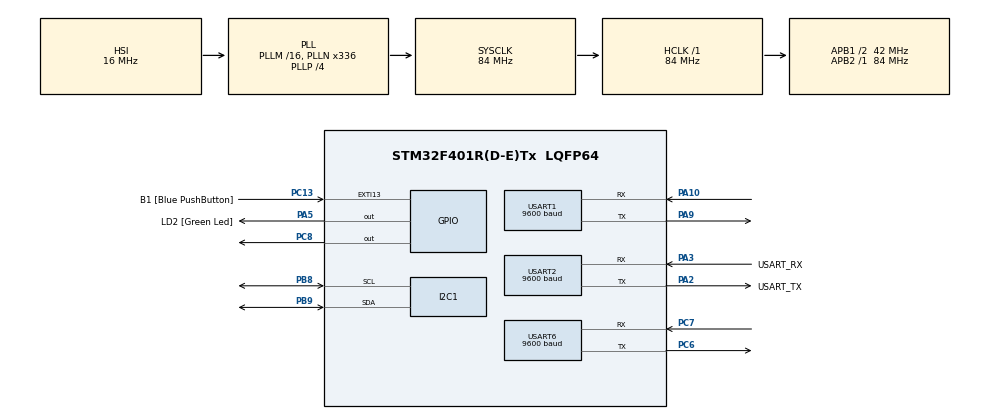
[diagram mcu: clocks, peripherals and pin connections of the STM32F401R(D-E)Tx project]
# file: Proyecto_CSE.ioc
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Dma.Request0=USART2_RX
Dma.Request1=USART2_TX
Dma.Request2=USART6_RX
Dma.Request3=USART6_TX
Dma.Request4=USART1_TX
Dma.USART1_TX.4.Direction=DMA_MEMORY_TO_PERIPH
Dma.USART1_TX.4.FIFOMode=DMA_FIFOMODE_DISABLE
Dma.USART1_TX.4.Instance=DMA2_Stream7
Dma.USART1_TX.4.MemDataAlignment=DMA_MDATAALIGN_BYTE
Dma.USART1_TX.4.MemInc=DMA_MINC_ENABLE
Dma.USART1_TX.4.Mode=DMA_CIRCULAR
Dma.USART1_TX.4.PeriphDataAlignment=DMA_PDATAALIGN_BYTE
Dma.USART1_TX.4.PeriphInc=DMA_PINC_DISABLE
Dma.USART1_TX.4.Priority=DMA_PRIORITY_LOW
Dma.USART2_RX.0.Direction=DMA_PERIPH_TO_MEMORY
Dma.USART2_RX.0.FIFOMode=DMA_FIFOMODE_DISABLE
Dma.USART2_RX.0.Instance=DMA1_Stream5
Dma.USART2_RX.0.MemDataAlignment=DMA_MDATAALIGN_BYTE
Dma.USART2_RX.0.MemInc=DMA_MINC_ENABLE
Dma.USART2_RX.0.Mode=DMA_CIRCULAR
Dma.USART2_RX.0.PeriphDataAlignment=DMA_PDATAALIGN_BYTE
Dma.USART2_RX.0.PeriphInc=DMA_PINC_DISABLE
Dma.USART2_RX.0.Priority=DMA_PRIORITY_LOW
Dma.USART2_TX.1.Direction=DMA_MEMORY_TO_PERIPH
Dma.USART2_TX.1.FIFOMode=DMA_FIFOMODE_DISABLE
Dma.USART2_TX.1.Instance=DMA1_Stream6
Dma.USART2_TX.1.MemDataAlignment=DMA_MDATAALIGN_BYTE
Dma.USART2_TX.1.MemInc=DMA_MINC_ENABLE
Dma.USART2_TX.1.Mode=DMA_NORMAL
Dma.USART2_TX.1.PeriphDataAlignment=DMA_PDATAALIGN_BYTE
Dma.USART2_TX.1.PeriphInc=DMA_PINC_DISABLE
Dma.USART2_TX.1.Priority=DMA_PRIORITY_LOW
Dma.USART6_RX.2.Direction=DMA_PERIPH_TO_MEMORY
Dma.USART6_RX.2.FIFOMode=DMA_FIFOMODE_DISABLE
Dma.USART6_RX.2.Instance=DMA2_Stream1
Dma.USART6_RX.2.MemDataAlignment=DMA_MDATAALIGN_BYTE
Dma.USART6_RX.2.MemInc=DMA_MINC_ENABLE
Dma.USART6_RX.2.Mode=DMA_CIRCULAR
Dma.USART6_RX.2.PeriphDataAlignment=DMA_PDATAALIGN_BYTE
Dma.USART6_RX.2.PeriphInc=DMA_PINC_DISABLE
Dma.USART6_RX.2.Priority=DMA_PRIORITY_LOW
Dma.USART6_TX.3.Direction=DMA_MEMORY_TO_PERIPH
Dma.USART6_TX.3.FIFOMode=DMA_FIFOMODE_DISABLE
Dma.USART6_TX.3.Instance=DMA2_Stream6
Dma.USART6_TX.3.MemDataAlignment=DMA_MDATAALIGN_BYTE
Dma.USART6_TX.3.MemInc=DMA_MINC_ENABLE
Dma.USART6_TX.3.Mode=DMA_CIRCULAR
Dma.USART6_TX.3.PeriphDataAlignment=DMA_PDATAALIGN_BYTE
Dma.USART6_TX.3.PeriphInc=DMA_PINC_DISABLE
Dma.USART6_TX.3.Priority=DMA_PRIORITY_LOW
Mcu.Family=STM32F4
Mcu.Name=STM32F401R(D-E)Tx
Mcu.Package=LQFP64
NVIC.DMA1_Stream5_IRQn=true\:0\:0\:false\:false\:true\:false\:true\:true
NVIC.DMA1_Stream6_IRQn=true\:0\:0\:false\:false\:true\:false\:true\:true
NVIC.DMA2_Stream1_IRQn=true\:0\:0\:false\:false\:true\:false\:true\:true
NVIC.DMA2_Stream6_IRQn=true\:0\:0\:false\:false\:true\:false\:true\:true
NVIC.DMA2_Stream7_IRQn=true\:0\:0\:false\:false\:true\:false\:true\:true
NVIC.PriorityGroup=NVIC_PRIORITYGROUP_0
NVIC.USART1_IRQn=true\:0\:0\:false\:false\:true\:true\:true\:true
NVIC.USART2_IRQn=true\:0\:0\:false\:false\:true\:true\:true\:true
NVIC.USART6_IRQn=true\:0\:0\:false\:false\:true\:true\:true\:true
PA10.Mode=Asynchronous
PA10.Signal=USART1_RX
PA13.GPIO_Label=TMS
PA13.Mode=Serial_Wire
PA13.Signal=SYS_JTMS-SWDIO
PA14.GPIO_Label=TCK
PA14.Mode=Serial_Wire
PA14.Signal=SYS_JTCK-SWCLK
PA2.GPIO_Label=USART_TX
PA2.GPIO_Mode=GPIO_MODE_AF_PP
PA2.GPIO_PuPd=GPIO_NOPULL
PA2.GPIO_Speed=GPIO_SPEED_FREQ_LOW
PA2.Mode=Asynchronous
PA2.Signal=USART2_TX
PA3.GPIO_Label=USART_RX
PA3.GPIO_Mode=GPIO_MODE_AF_PP
PA3.GPIO_PuPd=GPIO_NOPULL
PA3.GPIO_Speed=GPIO_SPEED_FREQ_LOW
PA3.Mode=Asynchronous
PA3.Signal=USART2_RX
PA5.GPIO_Label=LD2 [Green Led]
PA5.GPIO_Mode=GPIO_MODE_OUTPUT_PP
PA5.GPIO_PuPd=GPIO_NOPULL
PA5.GPIO_Speed=GPIO_SPEED_FREQ_LOW
PA5.Signal=GPIO_Output
PA9.Mode=Asynchronous
PA9.Signal=USART1_TX
PB3.GPIO_Label=SWO
PB3.Signal=SYS_JTDO-SWO
PB8.GPIO_Pu=GPIO_PULLUP
PB8.Mode=I2C
PB8.Signal=I2C1_SCL
PB9.GPIO_Pu=GPIO_PULLUP
PB9.Mode=I2C
PB9.Signal=I2C1_SDA
PC13-ANTI_TAMP.GPIO_Label=B1 [Blue PushButton]
PC13-ANTI_TAMP.GPIO_ModeDefaultEXTI=GPIO_MODE_IT_FALLING
PC13-ANTI_TAMP.GPIO_PuPd=GPIO_NOPULL
PC13-ANTI_TAMP.Signal=GPXTI13
PC14-OSC32_IN.Mode=LSE-External-Oscillator
PC14-OSC32_IN.Signal=RCC_OSC32_IN
PC15-OSC32_OUT.Mode=LSE-External-Oscillator
PC15-OSC32_OUT.Signal=RCC_OSC32_OUT
PC6.Mode=Asynchronous
PC6.Signal=USART6_TX
PC7.Mode=Asynchronous
PC7.Signal=USART6_RX
PC8.GPIO_ModeDefaultOutputPP=GPIO_MODE_OUTPUT_OD
PC8.GPIO_PuPd=GPIO_NOPULL
PC8.Signal=GPIO_Output
PH0\ -\ OSC_IN.Mode=HSE-External-Clock-Source
PH0\ -\ OSC_IN.Signal=RCC_OSC_IN
PH1\ -\ OSC_OUT.Mode=HSE-External-Clock-Source
PH1\ -\ OSC_OUT.Signal=RCC_OSC_OUT
ProjectManager.HeapSize=0x200
ProjectManager.StackSize=0x400
ProjectManager.TargetToolchain=STM32CubeIDE
RCC.48MHZClocksFreq_Value=48000000
RCC.AHBFreq_Value=84000000
RCC.APB1CLKDivider=RCC_HCLK_DIV2
RCC.APB1Freq_Value=42000000
RCC.APB1TimFreq_Value=84000000
RCC.APB2Freq_Value=84000000
RCC.APB2TimFreq_Value=84000000
RCC.CortexFreq_Value=84000000
RCC.HCLKFreq_Value=84000000
RCC.HSE_VALUE=8000000
RCC.HSI_VALUE=16000000
RCC.PLLN=336
RCC.PLLP=RCC_PLLP_DIV4
RCC.PLLQ=7
RCC.SYSCLKFreq_VALUE=84000000
RCC.SYSCLKSource=RCC_SYSCLKSOURCE_PLLCLK
RCC.VCOOutputFreq_Value=336000000
USART1.BaudRate=9600
USART1.VirtualMode=VM_ASYNC
USART2.BaudRate=9600
USART2.VirtualMode=VM_ASYNC
USART6.BaudRate=9600
USART6.VirtualMode=VM_ASYNC
VP_CRC_VS_CRC.Mode=CRC_Activate
board=NUCLEO-F401RE

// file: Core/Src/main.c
/* USER CODE BEGIN Header */
/**
  ******************************************************************************
  * @file           : main.c
  * @brief          : Programa principal de Proyecto Final de Cursada de CSE
  ******************************************************************************
  * @attention
  * DESCRIPCION: Se lee por UART una palabra de 16 hasta 256 bytes que debe comenzar con 'AA55' y finalizar con '55AA' para ser
  *              reconocida. Luego se guarda en memoria a través de comunicación I2C y se envía por UART.
  * UART no tiene incremento en memoria DMA Settings
  *
  * #### PROCEDIMIENTO ####
  * 1) Recibimos datos del sensor. Debe estar compuesta por: AA55 <Mensaje> 55AA
  * 2) Sensor tiene direccion 0x05
  * 3) Lora Side tiene direccion 0x06
  * 4) Protocolo de mensaje: 0xAA 0x55 DIR_ORIG(1 byte) DIR_DEST(1 byte) SIZE(1 byte) PAYLOAD(16 a 256 bytes) CRC(1 byte) 0x55 0xAA
  *
  * ####
  * HAL_GPIO_WritePin(GPIOC, GPIO_PIN_7, 0); // Equivale a poner en GND.
  * ####
  * UART 6 para TX y RX de trama.
  * UART 1 comando AT
  * UART 2 para DEBUG
  * PINTOUT RS485
  * PC6 = DI (TX)
  * PC7 = RO (RX)
  * PC8 = Salida colector abierto digital para configurar Rx/Tx
  *
  * #### Pinout I2C: ####
  * Pin1: A0  Pin8: VCC
  * Pin2: A1  Pin7: WP
  * Pin3: A2  Pin6: SCL (PB8)
  * Pin4: GND Pin5: SDA (PB9)
  *
  * ### Troubleshooting ###
  *  Si se queda esperando el debugger, compilá y depurá otro programa antes que este
  *
  ******************************************************************************
  */
/* USER CODE END Header */
#include "main.h"

/* USER CODE BEGIN PD */

# define MAX_MSG_LENGTH 256

// ############## Defines I2C ##############
#define CONTROL_CODE 0x0A
#define BLOCK1 0x00
HAL_StatusTypeDef Return_I2C; // Variable de estado de protocolo I2C.

#define ESTADO0 0
#define ESTADO1 1
#define ESTADO2 2
#define ESTADO3 3
#define ESTADO4 4
#define ESTADO5 5
#define ESTADO6 6
#define ESTADO7 7
#define ESTADO8 8
#define ESTADO9 9

/* USER CODE END PD */

CRC_HandleTypeDef hcrc;

I2C_HandleTypeDef hi2c1;

UART_HandleTypeDef huart1;
UART_HandleTypeDef huart2;
UART_HandleTypeDef huart6;
DMA_HandleTypeDef hdma_usart1_tx;
DMA_HandleTypeDef hdma_usart2_rx;
DMA_HandleTypeDef hdma_usart2_tx;
DMA_HandleTypeDef hdma_usart6_rx;
DMA_HandleTypeDef hdma_usart6_tx;

/* USER CODE BEGIN PV */

//############## Variables para transmitir mensaje.##############

uint8_t msg_length;         // Contador de letras de mi mensaje
uint8_t input_data[] = "pepepepeepAAHOLA Conectividad de sistemas Embebidos55";

uint8_t dir_origen = 0x5;
uint8_t dir_dest = 0x6;

uint8_t payloadprueba[8]={0x58,0x57,0x56,0x55,0x54,0x53,0x52,0x51};

// Variables para I2C
uint16_t Control_Byte;
uint8_t Data_I2C_Rx[6] ={0}; // size(Data_Tx)-2 porque no quiero leer la posicion de memoria, sino los datos
uint8_t Data_I2C_Tx[8] = {0,4,'A','B','C','D','E','F'}; // primeros bytes corresponden a la cantidad de word address, 24c32 tiene 2 word address.
uint8_t cnt = 0;
uint8_t Direccion[2]= {0,4};
HAL_StatusTypeDef Return;

uint8_t data_rx;
uint8_t info[267];			// 256 de payload + 11 de la trama.
uint8_t RX_PENDING = 1;     // Inicializo en 1

/* USER CODE END PV */

void SystemClock_Config(void);
static void MX_GPIO_Init(void);
static void MX_USART2_UART_Init(void);
static void MX_DMA_Init(void);
static void MX_I2C1_Init(void);
static void MX_USART6_UART_Init(void);
static void MX_USART1_UART_Init(void);
static void MX_CRC_Init(void);
/* USER CODE BEGIN PFP */

uint8_t contar_bytes_ciclicos(const uint8_t *arr,uint8_t pos);
uint8_t CSE_send_data(uint8_t* vec, uint8_t origen, uint8_t destino ,uint8_t size);
void Escritura_I2C(uint8_t *vec,uint8_t msg_length);
uint32_t Escritura_CRC(uint8_t origen, uint8_t destino, uint8_t size, uint8_t* payload_rx);
uint8_t Run_Program();
uint8_t CSE_receive_data();

/* USER CODE END PFP */

/* USER CODE BEGIN 0 */

//### Funcion que cuenta los bytes de payload ###
//uint8_t contar_bytes_ciclicos(const uint8_t *arr , uint8_t pos){
//	uint8_t cant_bytes = 0;
//	int j = 0;
//   	for( j = pos+2; j < MAX_MSG_LENGTH ; j++){
//            if ((arr[j] == '5') && (arr[(j+1)] == '5')){
//            	return cant_bytes;
//           	break;
//            }
//			cant_bytes = cant_bytes + 1;
//		}
//	return cant_bytes;
//}

//### Funcion para encontrar inicio de trama. Parámetros: vector donde buscar y tamaño ###
uint8_t Encontrar_START(uint8_t *vec,uint8_t len){
    int it = 0;
    uint8_t pos = 0;
	for(it = 0; it < len; it++ ){
		if( vec[it]== 'A' && vec[it+1]== 'A'){
			return pos;
		}
		pos = it + 1;
	}
	return pos;
}

//### Funcion que arma el protocolo de transmisión ###
uint8_t CSE_send_data(uint8_t* vec, uint8_t origen , uint8_t destino , uint8_t size){
	uint8_t PACKAGE_BYTES = 11; // Cantidad de bytes adicionales al payload a transmitir.
	uint8_t i=0;
	uint8_t crc [4]= {0x00,0x00,0x00,0x00};
	uint8_t data[size + 11];
	uint32_t CRC_AUX=0;
	for(i=0; i < size + PACKAGE_BYTES; i++)
	{
	  if(i==0)
		  data[i] = 0xAA;
	  if(i==1)
		  data[i] = 0x55;
	  if(i==2)
		  data[i] = origen;
	  if(i==3)
		  data[i] = destino;
	  if(i==4)
		  data[i] = size; // 16
	  if(i==(size+5))
		  data[i] = crc[3];
	  if(i==(size+6))
  		  data[i] = crc[2];
	  if(i==(size+7))
  		  data[i] = crc[1];
	  if(i==(size+8))
  		  data[i] = crc[0];
	  if(i ==(size+9))
		  data[i] = 0x55;
	  if(i == (size+10)){
		  data[i] = 0xAA;
	  }
	  if( (i>=5) && (i<=(5+size)))
		  data[i] = vec[i-5];
	}

	 CRC_AUX=Escritura_CRC(data[2], data[3], data[4], vec);
	 data[size+5]=(CRC_AUX&0xFF000000)>>24;
	 data[size+6]=(CRC_AUX&0x00FF0000)>>16;
	 data[size+7]=(CRC_AUX&0x0000FF00)>>8;
	 data[size+8]=CRC_AUX&0x000000FF;

	HAL_UART_Transmit_DMA(&huart2, data, sizeof(data));
	HAL_UART_Transmit_DMA(&huart6, data, sizeof(data));

	return 0;
}

uint32_t Escritura_CRC(uint8_t origen, uint8_t destino, uint8_t size, uint8_t* payload_rx){

	uint8_t i=0;
	uint32_t CRC_;
    uint8_t relleno=0;
	uint8_t RESTOS=(11+size)%4;

	switch (RESTOS)
		{
			case 0:
				relleno=0;
			  break;
			case 1:
				relleno=3;
			  break;
			case 2:
				relleno=2;
			  break;
			case 3:
				relleno=1;
			  break;
		}

	uint8_t Data_Input [11+size+relleno];
	Data_Input[0] = 0xAA;
	Data_Input[1] = 0x55;
	Data_Input[2] = origen;
	Data_Input[3] = destino;
	Data_Input[4] = size;

	for (i=0 ; i<size ; i++)
	{
		Data_Input[5+i] = payload_rx[i];
	}

	Data_Input[5+size] = 0x00;
	Data_Input[6+size] = 0x00;
	Data_Input[7+size] = 0x00;
	Data_Input[8+size] = 0x00;
	Data_Input[9+size] = 0x55;
	Data_Input[10+size] = 0xAA;

	for (i=11+size ; i<=11+size+relleno ; i++)
		{
			Data_Input[i] = 0x00;
		}

	CRC_ = HAL_CRC_Calculate(&hcrc, (uint32_t*)Data_Input, sizeof(Data_Input) / sizeof(uint32_t));

	return(CRC_);
}

void Escritura_I2C(uint8_t *vec,uint8_t msg_length){

    uint8_t Transmision_I2C[2 + msg_length];
    uint8_t Recepcion_I2C[msg_length];
    uint8_t item= 0;

    for(item=0; item < (msg_length + 2);item++){
    	if(item == 0)
    		Transmision_I2C[item] = Direccion[0];
    	if(item == 1)
    		Transmision_I2C[item] = Direccion[1];
    	else Transmision_I2C[item] = vec[item-2];
    }
    Control_Byte = ( (CONTROL_CODE<<3)+BLOCK1 ) << 1;
	//Return = HAL_I2C_Master_Transmit(&hi2c1, Control_Byte,Data_I2C_Tx,8,HAL_MAX_DELAY);
	Return = HAL_I2C_Master_Transmit(&hi2c1, Control_Byte,Transmision_I2C,sizeof(Transmision_I2C),HAL_MAX_DELAY);
	HAL_Delay(10);
	Return = HAL_I2C_Master_Transmit(&hi2c1, Control_Byte,Direccion,2,HAL_MAX_DELAY);
	//HAL_I2C_Master_Receive(&hi2c1, Control_Byte,Data_I2C_Rx, sizeof(Transmision_I2C), HAL_MAX_DELAY);
	HAL_I2C_Master_Receive(&hi2c1, Control_Byte,Recepcion_I2C, sizeof(Recepcion_I2C), HAL_MAX_DELAY);
}
//### Funcion que recibe por UART ###
uint8_t CSE_receive_data(){

	HAL_UART_Receive_IT(&huart6, &data_rx, sizeof(data_rx));
//HAL_UART_Receive_IT(huart, pData, Size)

	while(RX_PENDING);

	RX_PENDING = 1;

	return data_rx;
}
//### Completar esta función ###
void Enviar_Comando_AT(uint8_t* payload, uint8_t size_rx){

	uint8_t k=0;
	  uint8_t comando_AT[9] =  "AT+SEND+";
	  uint8_t size_AT = sizeof(comando_AT);
	  uint8_t mensaje_AT[size_AT+size_rx-1]; // el -1 es por el caracter nulo del vector char comando at
	for(k=0; k < size_AT-1; k++){
		mensaje_AT[k] =  comando_AT[k];
	}

	for(k=0; k < size_rx ;k++){
		mensaje_AT[k+size_AT-1] =  payload[k];
	}
	HAL_UART_Transmit_DMA(&huart2, mensaje_AT, sizeof(mensaje_AT));
	HAL_UART_Transmit_DMA(&huart1, mensaje_AT, sizeof(mensaje_AT));
}

uint8_t Run_Program(){

	int i;

		  uint8_t pos_START = 0; // Reseteo indice de posicion AA.

		  //HAL_UART_Receive_DMA(&huart2, Buffer_UART_Rx, sizeof(Buffer_UART_Rx)); // Recibo datos
		  //while(RX_PENDING);

	      pos_START = Encontrar_START(input_data,sizeof(input_data));

		  msg_length = 0;
		//  msg_length = contar_bytes_ciclicos(input_data, pos_START);

		  uint8_t payload[msg_length]; //inicializa

		  for(i=0; i < msg_length; i++){

			  *(payload + i) = *(input_data + pos_START + i + 2);

		  }//for

		  CSE_send_data(payload, dir_origen, dir_dest,msg_length);

		  //CSE_receive_data();
	return 0;
}

void HAL_UART_RxCpltCallback(UART_HandleTypeDef *huart6)
{
	// Drivers > STM32F..HAL_Driver > Src > stm32f4xx_hal_uart.c

    RX_PENDING = 0;
}

/* USER CODE END 0 */

int main(void)
{

  /* MCU Configuration--------------------------------------------------------*/

  /* Reset of all peripherals, Initializes the Flash interface and the Systick. */
  HAL_Init();

  /* USER CODE BEGIN Init */
  // HAL_GPIO_WritePin(GPIOC, GPIO_PIN_7, 0); // RX =0
  HAL_GPIO_WritePin(GPIOC, GPIO_PIN_8, 0); // Esta configurado en modo recepcion
  /* USER CODE END Init */

  /* Configure the system clock */
  SystemClock_Config();

  /* Initialize all configured peripherals */
  MX_GPIO_Init();
  MX_USART2_UART_Init();
  MX_DMA_Init();
  MX_I2C1_Init();
  MX_USART6_UART_Init();
  MX_USART1_UART_Init();
  MX_CRC_Init();
  /* USER CODE BEGIN 2 */

  HAL_UART_MspInit(&huart2);
  HAL_UART_MspInit(&huart6);
  //Run_Program(); 				// Ejecución de programa.

  static uint8_t ESTADO = 0;
  //uint8_t size_rx = 0;

  uint8_t size_rx ;
  uint8_t payload_rx[256] = {0};

  uint8_t i , j , k;
  uint8_t CRC_rx[4];

  uint32_t crc_obt =0 ;
  uint32_t crc_aux =0 ;
  /* USER CODE END 2 */

  /* Infinite loop */
  /* USER CODE BEGIN WHILE */
  HAL_GPIO_WritePin(GPIOC, GPIO_PIN_8, 0); // configuro el max en modo recepcion
 HAL_Delay(1); // delay de 10ms para que tenga tiempo para poder recibir paquetes

 while (1)
  {
//	     Enviar_Comando_AT(payloadprueba,sizeof(payloadprueba)); // Para probar el envio de datos a la LORA
//		 CSE_send_data("OK", 0x06 , 0x05 , sizeof("OK")); // Para probar el envio de datos de OK
//		 CSE_send_data("ER", 0x06 , 0x05 , sizeof("ER")); // Para probar el envio de datos de ERROR
	  //CSE_send_data("OK", 0x06 , 0x05 , sizeof("OK"));
	 				 //Enviar_Comando_AT(payload_rx,size_rx);
	switch (ESTADO)
	{
		case ESTADO0:
			info[0] = CSE_receive_data();
		  if(info[0] == 0xAA)
			  ESTADO = ESTADO2;
		  else
			  ESTADO = ESTADO0;
		  break;

		case ESTADO2:
			info[1] = CSE_receive_data();
		  if(info[1] == 0x55)
			  ESTADO = ESTADO3;
		  else
			  ESTADO = ESTADO0;
		  break;

		case ESTADO3:
			info[2] = CSE_receive_data();
		  if(info[2] == 0x05)
			 ESTADO = ESTADO4;
		  else
			  ESTADO = ESTADO0;
		 break;

		case ESTADO4:
			info[3] = CSE_receive_data();
		  if(info[3] == 0x06)
			 ESTADO = ESTADO5;
		  else
			  ESTADO = ESTADO0;
		  break;

		case ESTADO5:
			info[4] = CSE_receive_data();
			 size_rx = info[4];

			 for(i=0; i < size_rx; i++ ){
				 info[5+i] = CSE_receive_data();
				 payload_rx[i] = info[5+i];
			 }
			 ESTADO = ESTADO6;
		 break;

		case ESTADO6:
		  //uint8_t CRC_rx[4];
		  for(j=0;j < 4; j++){
			  info[5 + size_rx + j] = CSE_receive_data();
			  CRC_rx[j] = info[5 + size_rx + j];
		  }
			 ESTADO = ESTADO7;
		 break;

		case ESTADO7:
		  info[5 + size_rx + 4] = CSE_receive_data();
		  if(info[5 + size_rx + 4] == 0x55)
			 ESTADO = ESTADO8;
		  else
			  ESTADO = ESTADO0;
		  break;

		case ESTADO8:
		  info[5 + size_rx + 4 + 1] = CSE_receive_data();
		  if(info[5 + size_rx + 4 + 1] == 0xAA)
			 ESTADO = ESTADO9;
		  else
			  ESTADO = ESTADO0;
		  break;

		case ESTADO9: // Calculo de CRC
			 crc_obt = Escritura_CRC(0x05, 0x06, size_rx, payload_rx);
			 crc_aux=0;
			 for (i=0 ; i<3 ; i++){
			 		  crc_aux = CRC_rx[i] | crc_aux;
			 		  crc_aux =  crc_aux << 8 ;
			 	  }
			 	  crc_aux = CRC_rx[3] | crc_aux;
			 HAL_GPIO_WritePin(GPIOC, GPIO_PIN_8, 1); // configuro el max en modo transmision
			 HAL_Delay(1); // delay de 10ms para que tenga tiempo para poder transmitir paquetes

			 if(crc_obt == crc_aux)
			 {
				 CSE_send_data("OK", 0x06 , 0x05 , sizeof("OK"));
				 HAL_Delay(10); // delay de 50ms para que tenga tiempo para poder recibir paquetes
				 Enviar_Comando_AT(payload_rx,size_rx);
				 ESTADO=ESTADO0;
			 }
			 else
			 {
				 CSE_send_data("ER", 0x06 , 0x05 , sizeof("ER"));
				 HAL_Delay(1); // delay de 50ms para que tenga tiempo para poder recibir paquetes
				 ESTADO=ESTADO0;
			 }
			 HAL_GPIO_WritePin(GPIOC, GPIO_PIN_8, 0); // configuro el max en modo recepcion
			 HAL_Delay(1); // delay de 50ms para que tenga tiempo para poder recibir paquetes
		break;
	}
    /* USER CODE END WHILE */

  }
}

void SystemClock_Config(void)
{
  RCC_OscInitTypeDef RCC_OscInitStruct = {0};
  RCC_ClkInitTypeDef RCC_ClkInitStruct = {0};

  /** Configure the main internal regulator output voltage
  */
  __HAL_RCC_PWR_CLK_ENABLE();
  __HAL_PWR_VOLTAGESCALING_CONFIG(PWR_REGULATOR_VOLTAGE_SCALE2);
  /** Initializes the RCC Oscillators according to the specified parameters
  * in the RCC_OscInitTypeDef structure.
  */
  RCC_OscInitStruct.OscillatorType = RCC_OSCILLATORTYPE_HSI;
  RCC_OscInitStruct.HSIState = RCC_HSI_ON;
  RCC_OscInitStruct.HSICalibrationValue = RCC_HSICALIBRATION_DEFAULT;
  RCC_OscInitStruct.PLL.PLLState = RCC_PLL_ON;
  RCC_OscInitStruct.PLL.PLLSource = RCC_PLLSOURCE_HSI;
  RCC_OscInitStruct.PLL.PLLM = 16;
  RCC_OscInitStruct.PLL.PLLN = 336;
  RCC_OscInitStruct.PLL.PLLP = RCC_PLLP_DIV4;
  RCC_OscInitStruct.PLL.PLLQ = 7;
  if (HAL_RCC_OscConfig(&RCC_OscInitStruct) != HAL_OK)
  {
    Error_Handler();
  }
  /** Initializes the CPU, AHB and APB buses clocks
  */
  RCC_ClkInitStruct.ClockType = RCC_CLOCKTYPE_HCLK|RCC_CLOCKTYPE_SYSCLK
                              |RCC_CLOCKTYPE_PCLK1|RCC_CLOCKTYPE_PCLK2;
  RCC_ClkInitStruct.SYSCLKSource = RCC_SYSCLKSOURCE_PLLCLK;
  RCC_ClkInitStruct.AHBCLKDivider = RCC_SYSCLK_DIV1;
  RCC_ClkInitStruct.APB1CLKDivider = RCC_HCLK_DIV2;
  RCC_ClkInitStruct.APB2CLKDivider = RCC_HCLK_DIV1;

  if (HAL_RCC_ClockConfig(&RCC_ClkInitStruct, FLASH_LATENCY_2) != HAL_OK)
  {
    Error_Handler();
  }
}

static void MX_CRC_Init(void)
{

  hcrc.Instance = CRC;
  if (HAL_CRC_Init(&hcrc) != HAL_OK)
  {
    Error_Handler();
  }

}

static void MX_I2C1_Init(void)
{

  hi2c1.Instance = I2C1;
  hi2c1.Init.ClockSpeed = 100000;
  hi2c1.Init.DutyCycle = I2C_DUTYCYCLE_2;
  hi2c1.Init.OwnAddress1 = 0;
  hi2c1.Init.AddressingMode = I2C_ADDRESSINGMODE_7BIT;
  hi2c1.Init.DualAddressMode = I2C_DUALADDRESS_DISABLE;
  hi2c1.Init.OwnAddress2 = 0;
  hi2c1.Init.GeneralCallMode = I2C_GENERALCALL_DISABLE;
  hi2c1.Init.NoStretchMode = I2C_NOSTRETCH_DISABLE;
  if (HAL_I2C_Init(&hi2c1) != HAL_OK)
  {
    Error_Handler();
  }

}

static void MX_USART1_UART_Init(void)
{

  huart1.Instance = USART1;
  huart1.Init.BaudRate = 9600;
  huart1.Init.WordLength = UART_WORDLENGTH_8B;
  huart1.Init.StopBits = UART_STOPBITS_1;
  huart1.Init.Parity = UART_PARITY_NONE;
  huart1.Init.Mode = UART_MODE_TX_RX;
  huart1.Init.HwFlowCtl = UART_HWCONTROL_NONE;
  huart1.Init.OverSampling = UART_OVERSAMPLING_16;
  if (HAL_UART_Init(&huart1) != HAL_OK)
  {
    Error_Handler();
  }

}

static void MX_USART2_UART_Init(void)
{

  huart2.Instance = USART2;
  huart2.Init.BaudRate = 9600;
  huart2.Init.WordLength = UART_WORDLENGTH_8B;
  huart2.Init.StopBits = UART_STOPBITS_1;
  huart2.Init.Parity = UART_PARITY_NONE;
  huart2.Init.Mode = UART_MODE_TX_RX;
  huart2.Init.HwFlowCtl = UART_HWCONTROL_NONE;
  huart2.Init.OverSampling = UART_OVERSAMPLING_16;
  if (HAL_UART_Init(&huart2) != HAL_OK)
  {
    Error_Handler();
  }

}

static void MX_USART6_UART_Init(void)
{

  huart6.Instance = USART6;
  huart6.Init.BaudRate = 9600;
  huart6.Init.WordLength = UART_WORDLENGTH_8B;
  huart6.Init.StopBits = UART_STOPBITS_1;
  huart6.Init.Parity = UART_PARITY_NONE;
  huart6.Init.Mode = UART_MODE_TX_RX;
  huart6.Init.HwFlowCtl = UART_HWCONTROL_NONE;
  huart6.Init.OverSampling = UART_OVERSAMPLING_16;
  if (HAL_UART_Init(&huart6) != HAL_OK)
  {
    Error_Handler();
  }

}

static void MX_DMA_Init(void)
{

  /* DMA controller clock enable */
  __HAL_RCC_DMA1_CLK_ENABLE();
  __HAL_RCC_DMA2_CLK_ENABLE();

  /* DMA interrupt init */
  /* DMA1_Stream5_IRQn interrupt configuration */
  HAL_NVIC_SetPriority(DMA1_Stream5_IRQn, 0, 0);
  HAL_NVIC_EnableIRQ(DMA1_Stream5_IRQn);
  /* DMA1_Stream6_IRQn interrupt configuration */
  HAL_NVIC_SetPriority(DMA1_Stream6_IRQn, 0, 0);
  HAL_NVIC_EnableIRQ(DMA1_Stream6_IRQn);
  /* DMA2_Stream1_IRQn interrupt configuration */
  HAL_NVIC_SetPriority(DMA2_Stream1_IRQn, 0, 0);
  HAL_NVIC_EnableIRQ(DMA2_Stream1_IRQn);
  /* DMA2_Stream6_IRQn interrupt configuration */
  HAL_NVIC_SetPriority(DMA2_Stream6_IRQn, 0, 0);
  HAL_NVIC_EnableIRQ(DMA2_Stream6_IRQn);
  /* DMA2_Stream7_IRQn interrupt configuration */
  HAL_NVIC_SetPriority(DMA2_Stream7_IRQn, 0, 0);
  HAL_NVIC_EnableIRQ(DMA2_Stream7_IRQn);

}

static void MX_GPIO_Init(void)
{
  GPIO_InitTypeDef GPIO_InitStruct = {0};

  /* GPIO Ports Clock Enable */
  __HAL_RCC_GPIOC_CLK_ENABLE();
  __HAL_RCC_GPIOH_CLK_ENABLE();
  __HAL_RCC_GPIOA_CLK_ENABLE();
  __HAL_RCC_GPIOB_CLK_ENABLE();

  /*Configure GPIO pin Output Level */
  HAL_GPIO_WritePin(LD2_GPIO_Port, LD2_Pin, GPIO_PIN_RESET);

  /*Configure GPIO pin Output Level */
  HAL_GPIO_WritePin(GPIOC, GPIO_PIN_8, GPIO_PIN_RESET);

  /*Configure GPIO pin : B1_Pin */
  GPIO_InitStruct.Pin = B1_Pin;
  GPIO_InitStruct.Mode = GPIO_MODE_IT_FALLING;
  GPIO_InitStruct.Pull = GPIO_NOPULL;
  HAL_GPIO_Init(B1_GPIO_Port, &GPIO_InitStruct);

  /*Configure GPIO pin : LD2_Pin */
  GPIO_InitStruct.Pin = LD2_Pin;
  GPIO_InitStruct.Mode = GPIO_MODE_OUTPUT_PP;
  GPIO_InitStruct.Pull = GPIO_NOPULL;
  GPIO_InitStruct.Speed = GPIO_SPEED_FREQ_LOW;
  HAL_GPIO_Init(LD2_GPIO_Port, &GPIO_InitStruct);

  /*Configure GPIO pin : PC8 */
  GPIO_InitStruct.Pin = GPIO_PIN_8;
  GPIO_InitStruct.Mode = GPIO_MODE_OUTPUT_OD;
  GPIO_InitStruct.Pull = GPIO_NOPULL;
  GPIO_InitStruct.Speed = GPIO_SPEED_FREQ_LOW;
  HAL_GPIO_Init(GPIOC, &GPIO_InitStruct);

}

void Error_Handler(void)
{
  __disable_irq();
  while (1)
  {
  }
}
